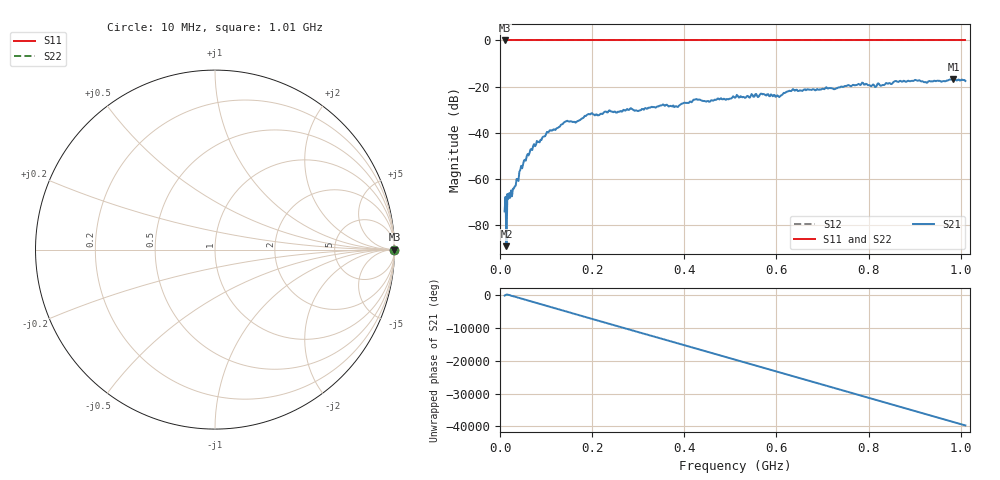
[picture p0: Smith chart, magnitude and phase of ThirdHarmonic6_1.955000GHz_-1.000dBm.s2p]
! 8/16/2025 11:32:19 PM
! C:\ANRITSUVNA\TEMP\TEMP.S2P
! CHANNEL.1
! TR.MEASUREMENT
! RAW.DATA
! RF.CORRECTION.OFF
! AVERAGING.OFF
! IF.BANDWIDTH: 5KHZ
! SWEEPTYPE:  FREQ.SWEEP(Linear)
! Reference Plane Port Info
! PORT:  PORT1  PORT2
! DISTANCE:  0  m  0  m
! TIME:  0  s  0  s
! PHASE.OFFSET:  0  deg.  0  deg.
! LOSS:  0  dB  0  dB
! REF.LOSS:  0  dB  0  dB
! REF.FREQ:  0  Hz  0  Hz
! Power Info
! POWER:  -20  dBm  -20  dBm
! EFF.POWER:  -20  dBm  -20  dBm
! SOURCE.ATTEN:  0  dB  0  dB
! TEST.ATTEN:  0  dB  0  dB
# GHZ S RI R 50.0
! FREQ.GHZ  S11RE  S11IM  S21RE  S21IM  S12RE  S12IM  S22RE  S22IM
!; PortSelection: Port_12
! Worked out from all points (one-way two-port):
!   501 points, 10 MHz to 1.01 GHz, reference 50 ohm
!   highest |S21| = -16.74 dB at 984 MHz (marker M1); lowest = -89.0 dB at 14 MHz (marker M2)
!   lowest |S11| = 0.0 dB at 10 MHz (marker M3)
!   |S11| at or under -10 dB: nowhere
!   |S22| runs from 0.0 to 0.0 dB; largest |S21 - S12| = 1.1
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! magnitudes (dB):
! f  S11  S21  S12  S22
! 10 MHz  0.0  -74.0  0.0  0.0
! 14 MHz  0.0  -89.0  0.0  0.0
! 18 MHz  0.0  -68.5  0.0  0.0
! 20 MHz  0.0  -66.0  0.0  0.0
! 30 MHz  0.0  -64.1  0.0  0.0
! 50 MHz  0.0  -53.7  0.0  0.0
! 76 MHz  0.0  -45.8  0.0  0.0
! 106 MHz  0.0  -39.5  0.0  0.0
! 142 MHz  0.0  -35.1  0.0  0.0
! 178 MHz  0.0  -33.7  0.0  0.0
! 196 MHz  0.0  -32.0  0.0  0.0
! 344 MHz  0.0  -28.6  0.0  0.0
! 382 MHz  0.0  -28.4  0.0  0.0
! 424 MHz  0.0  -25.5  0.0  0.0
! 452 MHz  0.0  -26.2  0.0  0.0
! 510 MHz  0.0  -24.8  0.0  0.0
! 602 MHz  0.0  -23.7  0.0  0.0
! 632 MHz  0.0  -21.9  0.0  0.0
! 678 MHz  0.0  -21.2  0.0  0.0
! 844 MHz  0.0  -18.5  0.0  0.0
! 984 MHz  0.0  -16.7  0.0  0.0
! 1.01 GHz  0.0  -17.5  0.0  0.0
